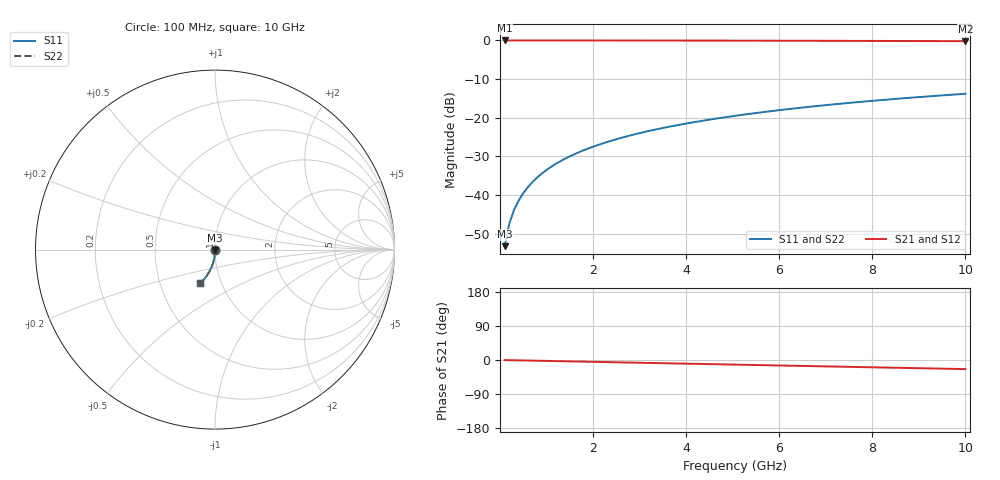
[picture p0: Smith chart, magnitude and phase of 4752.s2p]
# Hz S RI R 50.00
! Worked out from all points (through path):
!   100 points, 100 MHz to 10 GHz, reference 50 ohm
!   highest |S21| = 0.00 dB at 100 MHz (marker M1); lowest = -0.2 dB at 10 GHz (marker M2)
!   group delay of S21, straight-line fit = 6.68 ps
!   lowest |S11| = -53.2 dB at 100 MHz (marker M3), VSWR 1.00, Z = 50.1 - j0.212 ohm
!   |S11| at or under -10 dB: start of sweep to end of sweep
!   |S22| runs from -53.2 to -13.8 dB; largest |S21 - S12| = 0
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1e8  0.000547 -0.00211  0.9994 -0.00421  0.9994 -0.00421  0.000547 -0.00211
2e8  0.000522 -0.00423  0.9994 -0.00842  0.9994 -0.00842  0.000522 -0.00423
3e8  0.000477 -0.00634  0.9993 -0.0126  0.9993 -0.0126  0.000477 -0.00634
4e8  0.000414 -0.00845  0.9992 -0.0168  0.9992 -0.0168  0.000414 -0.00845
5e8  0.000333 -0.0106  0.9991 -0.0211  0.9991 -0.0211  0.000333 -0.0106
6e8  0.000233 -0.0127  0.999 -0.0253  0.999 -0.0253  0.000233 -0.0127
7e8  0.000116 -0.0148  0.9989 -0.0295  0.9989 -0.0295  0.000116 -0.0148
8e8  -1.88e-05 -0.0169  0.9987 -0.0337  0.9987 -0.0337  -1.88e-05 -0.0169
9e8  -0.000172 -0.019  0.9985 -0.0379  0.9985 -0.0379  -0.000172 -0.019
1.1e9  -0.000531 -0.0232  0.998 -0.0463  0.998 -0.0463  -0.000531 -0.0232
1.4e9  -0.0012 -0.0295  0.9972 -0.0589  0.9972 -0.0589  -0.0012 -0.0295
1.8e9  -0.00235 -0.0379  0.9958 -0.0757  0.9958 -0.0757  -0.00235 -0.0379
2.1e9  -0.00339 -0.0442  0.9945 -0.0882  0.9945 -0.0882  -0.00339 -0.0442
2.5e9  -0.00503 -0.0525  0.9924 -0.105  0.9924 -0.105  -0.00503 -0.0525
2.9e9  -0.00695 -0.0607  0.99 -0.1216  0.99 -0.1216  -0.00695 -0.0607
3.4e9  -0.00973 -0.0709  0.9865 -0.1423  0.9865 -0.1423  -0.00973 -0.0709
4.2e9  -0.0151 -0.087  0.9798 -0.1752  0.9798 -0.1752  -0.0151 -0.087
5.1e9  -0.0223 -0.1045  0.9707 -0.2118  0.9707 -0.2118  -0.0223 -0.1045
5.9e9  -0.0299 -0.1196  0.9611 -0.2438  0.9611 -0.2438  -0.0299 -0.1196
6.7e9  -0.0384 -0.1342  0.9503 -0.2752  0.9503 -0.2752  -0.0384 -0.1342
8.4e9  -0.0595 -0.1628  0.9233 -0.34  0.9233 -0.34  -0.0595 -0.1628
1e10  -0.0827 -0.1866  0.8933 -0.3979  0.8933 -0.3979  -0.0827 -0.1866
